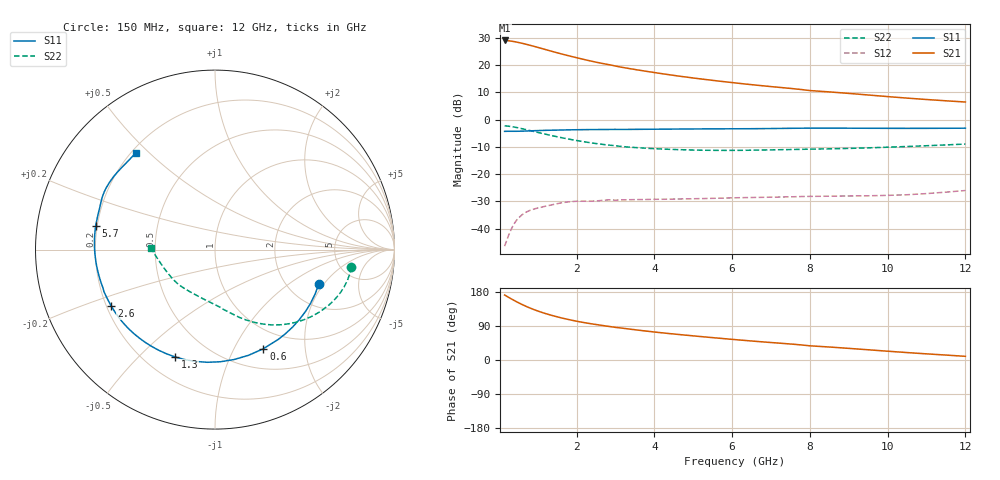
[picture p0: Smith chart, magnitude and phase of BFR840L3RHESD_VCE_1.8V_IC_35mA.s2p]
! Infineon Technologies  Discrete & RF Semiconductors
! BFR840L3RHESD
! VCE =  1.8 V,  IC =  35 mA
! Common Emitter S-Parameters:  Jun 2012
# GHz  S  MA  R  50
!  f  S11  S21  S12  S22
! GHz  MAG  ANG  MAG  ANG  MAG  ANG  MAG  ANG
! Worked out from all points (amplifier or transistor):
!   91 points, 150 MHz to 12 GHz, reference 50 ohm
!   highest |S21| = 29.0 dB at 150 MHz (marker M1)
!   |S21| within 3 dB of that: start of sweep to 1.119 GHz
!   unconditionally stable (mu >= 1): start of sweep to 166.4 MHz; 4.258 GHz to end of sweep
!   at 1.3 GHz: K = 0.42, MSG = 28.4 dB, |S12| = -31.4 dB
!   at 4.3 GHz: K = 1.01, MAG = 22.3 dB, |S12| = -29.2 dB
!   at 12 GHz: K = 2.26, MAG = 9.9 dB, |S12| = -26.0 dB
!   S11 on the Smith chart (normalised r, x): 150 MHz: 2.95, -1.77; 600 MHz: 0.74, -1.32; 1.3 GHz: 0.32, -0.65; 2.6 GHz: 0.22, -0.24; 5.7 GHz: 0.19, +0.09; 12 GHz: 0.22, +0.45
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0.15  0.6089 -18.1  28.17 171.5  0.0048 68.0  0.7664 -7.2
0.25  0.6108 -29.2  27.82 165.5  0.0075 63.6  0.7571 -13.2
0.4  0.6109 -45.0  26.79 156.9  0.0125 60.8  0.7291 -21.2
0.5  0.612 -54.8  25.92 151.5  0.0155 59.2  0.7056 -26.0
0.6  0.6144 -64.0  24.98 146.4  0.0181 57.3  0.6805 -30.5
0.7  0.6178 -72.4  24.01 141.7  0.0201 55.2  0.6552 -34.6
0.9  0.6256 -87.3  22.04 133.2  0.0229 50.3  0.6062 -41.9
1.1  0.6325 -99.8  20.12 125.9  0.0249 45.1  0.5613 -48.2
1.3  0.638 -110.3  18.35 119.6  0.0268 40.7  0.5208 -53.6
1.5  0.6426 -119.3  16.76 114.0  0.0288 37.4  0.4849 -58.3
1.7  0.6467 -127.0  15.38 109.0  0.0305 35.2  0.4535 -62.6
1.9  0.6505 -133.7  14.17 104.5  0.0316 33.5  0.4262 -66.5
2.2  0.6548 -142.2  12.6 98.6  0.032 30.9  0.392 -71.6
2.6  0.6579 -151.4  10.9 92.1  0.0328 28.7  0.3566 -77.5
3  0.6616 -159.2  9.578 86.1  0.0333 27.1  0.3324 -82.9
3.3  0.661 -164.1  8.748 82.4  0.034 27.2  0.3157 -86.9
4.2  0.6681 -176.0  6.931 71.7  0.0347 27.5  0.289 -98.5
5.7  0.6774 168.8  5.041 57.2  0.0364 28.0  0.2731 -117.3
6.1  0.679 165.3  4.683 53.6  0.037 28.5  0.2733 -122.3
8.5  0.6971 147.4  3.218 34.3  0.0395 32.3  0.2914 -151.4
10.5  0.6911 135.8  2.476 19.6  0.042 41.3  0.3216 -170.1
12  0.6963 129.5  2.099 9.7  0.0502 46.2  0.3565 178.7
